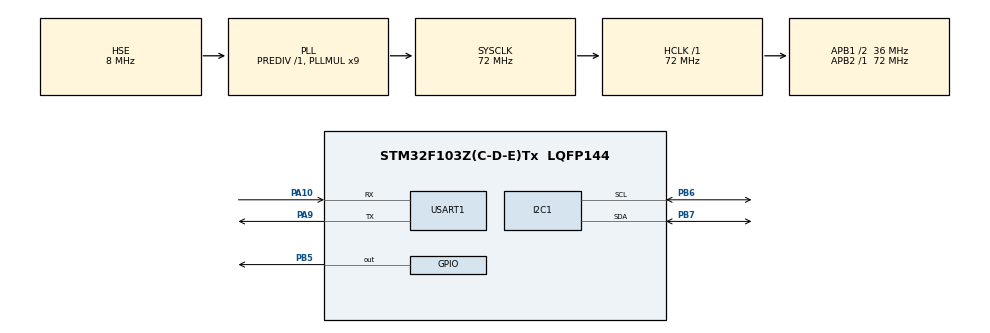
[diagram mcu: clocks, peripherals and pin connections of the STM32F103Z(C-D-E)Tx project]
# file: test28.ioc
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Mcu.Family=STM32F1
Mcu.Name=STM32F103Z(C-D-E)Tx
Mcu.Package=LQFP144
NVIC.PriorityGroup=NVIC_PRIORITYGROUP_4
OSC_IN.Mode=HSE-External-Oscillator
OSC_IN.Signal=RCC_OSC_IN
OSC_OUT.Mode=HSE-External-Oscillator
OSC_OUT.Signal=RCC_OSC_OUT
PA10.Mode=Asynchronous
PA10.Signal=USART1_RX
PA13.Mode=Serial_Wire
PA13.Signal=SYS_JTMS-SWDIO
PA14.Mode=Serial_Wire
PA14.Signal=SYS_JTCK-SWCLK
PA9.Mode=Asynchronous
PA9.Signal=USART1_TX
PB5.Signal=GPIO_Output
PB6.Mode=I2C
PB6.Signal=I2C1_SCL
PB7.Mode=I2C
PB7.Signal=I2C1_SDA
ProjectManager.HeapSize=0x200
ProjectManager.StackSize=0x400
ProjectManager.TargetToolchain=MDK-ARM V5.32
RCC.AHBFreq_Value=72000000
RCC.APB1CLKDivider=RCC_HCLK_DIV2
RCC.APB1Freq_Value=36000000
RCC.APB1TimFreq_Value=72000000
RCC.APB2Freq_Value=72000000
RCC.APB2TimFreq_Value=72000000
RCC.HCLKFreq_Value=72000000
RCC.PLLMUL=RCC_PLL_MUL9
RCC.PLLSourceVirtual=RCC_PLLSOURCE_HSE
RCC.SYSCLKFreq_VALUE=72000000
RCC.SYSCLKSource=RCC_SYSCLKSOURCE_PLLCLK
RCC.USBFreq_Value=72000000
USART1.VirtualMode=VM_ASYNC
board=custom

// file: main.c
/* USER CODE BEGIN Header */
/**
 ******************************************************************************
 * @file           : main.c
 * @brief          : Main program body
 ******************************************************************************
 * @attention
 *
 * Copyright (c) 2023 STMicroelectronics.
 * All rights reserved.
 *
 * This software is licensed under terms that can be found in the LICENSE file
 * in the root directory of this software component.
 * If no LICENSE file comes with this software, it is provided AS-IS.
 *
 ******************************************************************************
 */
/* USER CODE END Header */
#include "main.h"
#include "i2c.h"
#include "usart.h"
#include "gpio.h"

/* USER CODE BEGIN Includes */
#include <stdio.h>
#include <string.h>
/* USER CODE END Includes */

/* USER CODE BEGIN PD */

#define ADDR_24LCxx_Write 0xA0
#define ADDR_24LCxx_Read 0xA1
#define BufferSize 256
uint8_t WriteBuffer[BufferSize], ReadBuffer[BufferSize];
uint16_t i;
/* USER CODE END PD */

void SystemClock_Config(void);

/* USER CODE BEGIN 0 */
void iic_write()
{

  for (i = 0; i < 256; i++)
    WriteBuffer[i] = i; /* WriteBuffer init */
  char temp[35];
  for (int j = 0; j < 32; j++)
  {
    if (HAL_I2C_Mem_Write(&hi2c1, ADDR_24LCxx_Write, 8 * j, I2C_MEMADD_SIZE_8BIT, WriteBuffer + 8 * j, 8, 1000) == HAL_OK)
    {
      sprintf(temp, "\r\n EEPROM 24C02 Write Test OK \r\n");
      HAL_UART_Transmit(&huart1, (uint8_t *)temp, strlen(temp), 50);
      HAL_Delay(20);
    }
    else
    {
      HAL_Delay(20);
      sprintf(temp, "\r\n EEPROM 24C02 Write Test False \r\n");
      HAL_UART_Transmit(&huart1, (uint8_t *)temp, strlen(temp), 50);
    }
  }

  HAL_I2C_Mem_Read(&hi2c1, ADDR_24LCxx_Read, 0, I2C_MEMADD_SIZE_8BIT, ReadBuffer, BufferSize, 0xff);

  for (i = 0; i < 256; i++)
  {
    sprintf(temp, "0x%02X  ", ReadBuffer[i]);
    HAL_UART_Transmit(&huart1, (uint8_t *)temp, strlen(temp), 50);
  }
}
/* USER CODE END 0 */

int main(void)
{

  /* MCU Configuration--------------------------------------------------------*/

  /* Reset of all peripherals, Initializes the Flash interface and the Systick. */
  HAL_Init();

  /* Configure the system clock */
  SystemClock_Config();

  /* Initialize all configured peripherals */
  MX_GPIO_Init();
  MX_USART1_UART_Init();
  MX_I2C1_Init();
  /* USER CODE BEGIN 2 */
  iic_write();
  /* USER CODE END 2 */

  /* Infinite loop */
  while (1)
  {

  }
}

void SystemClock_Config(void)
{
  RCC_OscInitTypeDef RCC_OscInitStruct = {0};
  RCC_ClkInitTypeDef RCC_ClkInitStruct = {0};

  /** Initializes the RCC Oscillators according to the specified parameters
   * in the RCC_OscInitTypeDef structure.
   */
  RCC_OscInitStruct.OscillatorType = RCC_OSCILLATORTYPE_HSE;
  RCC_OscInitStruct.HSEState = RCC_HSE_ON;
  RCC_OscInitStruct.HSEPredivValue = RCC_HSE_PREDIV_DIV1;
  RCC_OscInitStruct.HSIState = RCC_HSI_ON;
  RCC_OscInitStruct.PLL.PLLState = RCC_PLL_ON;
  RCC_OscInitStruct.PLL.PLLSource = RCC_PLLSOURCE_HSE;
  RCC_OscInitStruct.PLL.PLLMUL = RCC_PLL_MUL9;
  if (HAL_RCC_OscConfig(&RCC_OscInitStruct) != HAL_OK)
  {
    Error_Handler();
  }

  /** Initializes the CPU, AHB and APB buses clocks
   */
  RCC_ClkInitStruct.ClockType = RCC_CLOCKTYPE_HCLK | RCC_CLOCKTYPE_SYSCLK | RCC_CLOCKTYPE_PCLK1 | RCC_CLOCKTYPE_PCLK2;
  RCC_ClkInitStruct.SYSCLKSource = RCC_SYSCLKSOURCE_PLLCLK;
  RCC_ClkInitStruct.AHBCLKDivider = RCC_SYSCLK_DIV1;
  RCC_ClkInitStruct.APB1CLKDivider = RCC_HCLK_DIV2;
  RCC_ClkInitStruct.APB2CLKDivider = RCC_HCLK_DIV1;

  if (HAL_RCC_ClockConfig(&RCC_ClkInitStruct, FLASH_LATENCY_2) != HAL_OK)
  {
    Error_Handler();
  }
}

void Error_Handler(void)
{
  __disable_irq();
  while (1)
  {
  }
}
